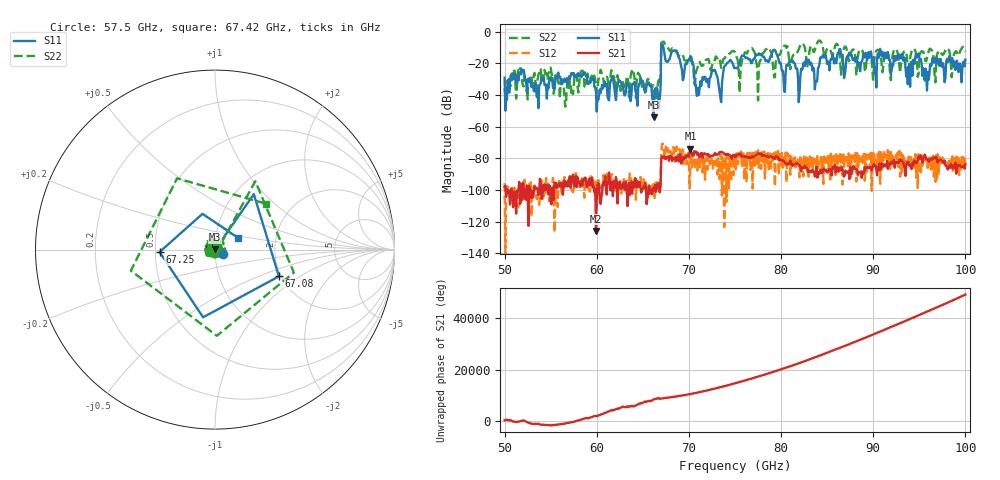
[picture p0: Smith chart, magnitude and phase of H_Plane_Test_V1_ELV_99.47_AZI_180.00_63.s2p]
! 11/27/2026 8:43:50 AM
! C:\ANRITSUVNA\TEMP\TEMP.S2P
! CHANNEL.1
! TR.MEASUREMENT
! RAW.DATA
# HZ S RI R 50.0
! FREQ.HZ  S11RE  S11IM  S21RE  S21IM  S12RE  S12IM  S22RE  S22IM
!; PortSelection: Port_12
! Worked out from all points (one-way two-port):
!   601 points, 50 GHz to 100 GHz, reference 50 ohm
!   highest |S21| = -74.04 dB at 70.17 GHz (marker M1); lowest = -126.0 dB at 59.92 GHz (marker M2)
!   lowest |S11| = -54.1 dB at 66.17 GHz (marker M3), VSWR 1.00, Z = 50.1 + j0.142 ohm
!   |S11| at or under -10 dB: start of sweep to 67 GHz; 67.24 GHz to end of sweep
!   |S22| runs from -47.5 to -5.6 dB; largest |S21 - S12| = 0.00037
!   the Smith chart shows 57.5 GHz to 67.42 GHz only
!   S11 on the Smith chart (normalised r, x): 57.5 GHz: 1.09, -0.05; 67.08 GHz: 1.95, -0.68; 67.25 GHz: 0.53, -0.02; 67.42 GHz: 1.29, +0.17
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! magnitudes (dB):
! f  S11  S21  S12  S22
! 50 GHz  -29.1  -98.1  -95.7  -35.8
! 51.67 GHz  -26.3  -108.9  -99.6  -23.2
! 53.42 GHz  -34.9  -98.5  -104.3  -35.6
! 57.5 GHz  -26.2  -93.6  -96.6  -34.6
! 58.42 GHz  -27.1  -97.2  -91.6  -24.6
! 59.92 GHz  -38.5  -126.0  -94.5  -33.0
! 66.17 GHz  -54.1  -100.2  -96.3  -34.0
! 66.67 GHz  -41.8  -95.8  -95.3  -31.6
! 67.08 GHz  -8.3  -78.9  -71.0  -6.8
! 67.25 GHz  -10.2  -79.0  -72.7  -6.3
! 67.42 GHz  -16.7  -80.4  -79.7  -8.4
! 70.17 GHz  -15.4  -74.0  -79.7  -18.5
! 70.92 GHz  -40.5  -78.0  -87.7  -23.0
! 75 GHz  -23.1  -79.5  -79.0  -13.0
! 79.25 GHz  -11.5  -80.5  -76.6  -29.0
! 80.25 GHz  -28.0  -81.6  -78.7  -9.3
! 83.42 GHz  -24.6  -87.4  -87.9  -10.9
! 91.67 GHz  -16.8  -83.8  -84.8  -15.3
! 93.75 GHz  -33.3  -82.6  -82.5  -21.6
! 94.83 GHz  -14.8  -81.7  -98.9  -28.6
! 95.83 GHz  -37.2  -81.0  -80.1  -16.5
! 100 GHz  -17.7  -83.9  -83.6  -12.6
